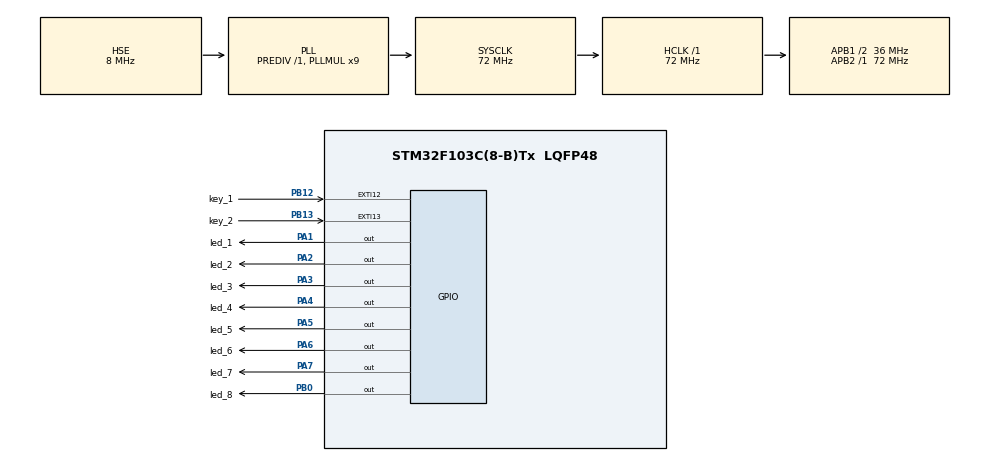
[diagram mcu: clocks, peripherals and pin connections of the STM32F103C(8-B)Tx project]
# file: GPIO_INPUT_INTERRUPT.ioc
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Mcu.Family=STM32F1
Mcu.Name=STM32F103C(8-B)Tx
Mcu.Package=LQFP48
NVIC.EXTI15_10_IRQn=true\:0\:0\:false\:false\:true\:true\:true\:true
NVIC.PriorityGroup=NVIC_PRIORITYGROUP_4
PA1.GPIO_Label=led_1
PA1.Signal=GPIO_Output
PA13.Mode=Serial_Wire
PA13.Signal=SYS_JTMS-SWDIO
PA14.Mode=Serial_Wire
PA14.Signal=SYS_JTCK-SWCLK
PA2.GPIO_Label=led_2
PA2.Signal=GPIO_Output
PA3.GPIO_Label=led_3
PA3.Signal=GPIO_Output
PA4.GPIO_Label=led_4
PA4.Signal=GPIO_Output
PA5.GPIO_Label=led_5
PA5.Signal=GPIO_Output
PA6.GPIO_Label=led_6
PA6.Signal=GPIO_Output
PA7.GPIO_Label=led_7
PA7.Signal=GPIO_Output
PB0.GPIO_Label=led_8
PB0.Signal=GPIO_Output
PB12.GPIO_Label=key_1
PB12.GPIO_ModeDefaultEXTI=GPIO_MODE_IT_RISING_FALLING
PB12.GPIO_PuPd=GPIO_PULLUP
PB12.Signal=GPXTI12
PB13.GPIO_Label=key_2
PB13.GPIO_ModeDefaultEXTI=GPIO_MODE_IT_RISING_FALLING
PB13.GPIO_PuPd=GPIO_PULLUP
PB13.Signal=GPXTI13
PD0-OSC_IN.Mode=HSE-External-Oscillator
PD0-OSC_IN.Signal=RCC_OSC_IN
PD1-OSC_OUT.Mode=HSE-External-Oscillator
PD1-OSC_OUT.Signal=RCC_OSC_OUT
ProjectManager.HeapSize=0x200
ProjectManager.StackSize=0x400
ProjectManager.TargetToolchain=STM32CubeIDE
RCC.AHBFreq_Value=72000000
RCC.APB1CLKDivider=RCC_HCLK_DIV2
RCC.APB1Freq_Value=36000000
RCC.APB1TimFreq_Value=72000000
RCC.APB2Freq_Value=72000000
RCC.APB2TimFreq_Value=72000000
RCC.HCLKFreq_Value=72000000
RCC.PLLMUL=RCC_PLL_MUL9
RCC.PLLSourceVirtual=RCC_PLLSOURCE_HSE
RCC.SYSCLKFreq_VALUE=72000000
RCC.SYSCLKSource=RCC_SYSCLKSOURCE_PLLCLK
RCC.USBFreq_Value=72000000
board=custom

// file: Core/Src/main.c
/* USER CODE BEGIN Header */
/**
  ******************************************************************************
  * @file           : main.c
  * @brief          : Main program body
  ******************************************************************************
  * @attention
  *
  * Copyright (c) 2024 STMicroelectronics.
  * All rights reserved.
  *
  * This software is licensed under terms that can be found in the LICENSE file
  * in the root directory of this software component.
  * If no LICENSE file comes with this software, it is provided AS-IS.
  *
  ******************************************************************************
  */
/* USER CODE END Header */
#include "main.h"

/* USER CODE BEGIN Includes */
#include "stdbool.h"
/* USER CODE END Includes */

void SystemClock_Config(void);
static void MX_GPIO_Init(void);
/* USER CODE BEGIN PFP */
void HAL_GPIO_EXTI_Callback(uint16_t GPIO_Pin);
void Key_1_Handler(uint32_t TimePress, GPIO_TypeDef* listport[], uint16_t listpin[]);
void Toggle_Leds(GPIO_TypeDef* ListPort[], uint16_t ListPin[]);
void CountUp(GPIO_TypeDef* listport[], uint16_t listpin[]);
//void Control_All_Leds(bool state);
void Off_All(void);
void CountDown(GPIO_TypeDef* listport[], uint16_t listpin[]);
/* USER CODE END PFP */

/* USER CODE BEGIN 0 */
volatile bool Inter_Key_1 = 0;
volatile bool Inter_Key_2 = 0;
volatile uint32_t Last_Interrupt_Time = 0;
volatile bool counter = 0;
volatile bool Key_State = 0;
volatile bool Key_Stable = 0;
volatile uint32_t Time_Press_Start = 0;
volatile uint32_t Time_Press_Duration = 0;
volatile uint32_t Time_Press_Duration_Key_2 = 0;

GPIO_TypeDef* led_port[] = {led_1_GPIO_Port, led_2_GPIO_Port, led_3_GPIO_Port, led_4_GPIO_Port,
		  led_5_GPIO_Port,led_6_GPIO_Port,led_7_GPIO_Port,led_8_GPIO_Port};

uint16_t led_pin[] = {led_1_Pin, led_2_Pin, led_3_Pin, led_4_Pin, led_5_Pin, led_6_Pin,
		  led_7_Pin,led_8_Pin};
/* USER CODE END 0 */

int main(void)
{

  /* MCU Configuration--------------------------------------------------------*/

  /* Reset of all peripherals, Initializes the Flash interface and the Systick. */
  HAL_Init();

  /* Configure the system clock */
  SystemClock_Config();

  /* Initialize all configured peripherals */
  MX_GPIO_Init();

  /* Infinite loop */
  while (1)
  {

    /* USER CODE BEGIN 3 */
	if(Inter_Key_1 == 1)
	{

		if(Key_Stable == 1)
		{
			Key_Stable = 0;
			Inter_Key_1 = 0;
			Key_1_Handler(Time_Press_Duration, led_port, led_pin);
		}
	}
  }
  /* USER CODE END 3 */
}

void SystemClock_Config(void)
{
  RCC_OscInitTypeDef RCC_OscInitStruct = {0};
  RCC_ClkInitTypeDef RCC_ClkInitStruct = {0};

  /** Initializes the RCC Oscillators according to the specified parameters
  * in the RCC_OscInitTypeDef structure.
  */
  RCC_OscInitStruct.OscillatorType = RCC_OSCILLATORTYPE_HSE;
  RCC_OscInitStruct.HSEState = RCC_HSE_ON;
  RCC_OscInitStruct.HSEPredivValue = RCC_HSE_PREDIV_DIV1;
  RCC_OscInitStruct.HSIState = RCC_HSI_ON;
  RCC_OscInitStruct.PLL.PLLState = RCC_PLL_ON;
  RCC_OscInitStruct.PLL.PLLSource = RCC_PLLSOURCE_HSE;
  RCC_OscInitStruct.PLL.PLLMUL = RCC_PLL_MUL9;
  if (HAL_RCC_OscConfig(&RCC_OscInitStruct) != HAL_OK)
  {
    Error_Handler();
  }

  /** Initializes the CPU, AHB and APB buses clocks
  */
  RCC_ClkInitStruct.ClockType = RCC_CLOCKTYPE_HCLK|RCC_CLOCKTYPE_SYSCLK
                              |RCC_CLOCKTYPE_PCLK1|RCC_CLOCKTYPE_PCLK2;
  RCC_ClkInitStruct.SYSCLKSource = RCC_SYSCLKSOURCE_PLLCLK;
  RCC_ClkInitStruct.AHBCLKDivider = RCC_SYSCLK_DIV1;
  RCC_ClkInitStruct.APB1CLKDivider = RCC_HCLK_DIV2;
  RCC_ClkInitStruct.APB2CLKDivider = RCC_HCLK_DIV1;

  if (HAL_RCC_ClockConfig(&RCC_ClkInitStruct, FLASH_LATENCY_2) != HAL_OK)
  {
    Error_Handler();
  }
}

static void MX_GPIO_Init(void)
{
  GPIO_InitTypeDef GPIO_InitStruct = {0};

  /* GPIO Ports Clock Enable */
  __HAL_RCC_GPIOD_CLK_ENABLE();
  __HAL_RCC_GPIOA_CLK_ENABLE();
  __HAL_RCC_GPIOB_CLK_ENABLE();

  /*Configure GPIO pin Output Level */
  HAL_GPIO_WritePin(GPIOA, led_1_Pin|led_2_Pin|led_3_Pin|led_4_Pin
                          |led_5_Pin|led_6_Pin|led_7_Pin, GPIO_PIN_RESET);

  /*Configure GPIO pin Output Level */
  HAL_GPIO_WritePin(led_8_GPIO_Port, led_8_Pin, GPIO_PIN_RESET);

  /*Configure GPIO pins : led_1_Pin led_2_Pin led_3_Pin led_4_Pin
                           led_5_Pin led_6_Pin led_7_Pin */
  GPIO_InitStruct.Pin = led_1_Pin|led_2_Pin|led_3_Pin|led_4_Pin
                          |led_5_Pin|led_6_Pin|led_7_Pin;
  GPIO_InitStruct.Mode = GPIO_MODE_OUTPUT_PP;
  GPIO_InitStruct.Pull = GPIO_NOPULL;
  GPIO_InitStruct.Speed = GPIO_SPEED_FREQ_LOW;
  HAL_GPIO_Init(GPIOA, &GPIO_InitStruct);

  /*Configure GPIO pin : led_8_Pin */
  GPIO_InitStruct.Pin = led_8_Pin;
  GPIO_InitStruct.Mode = GPIO_MODE_OUTPUT_PP;
  GPIO_InitStruct.Pull = GPIO_NOPULL;
  GPIO_InitStruct.Speed = GPIO_SPEED_FREQ_LOW;
  HAL_GPIO_Init(led_8_GPIO_Port, &GPIO_InitStruct);

  /*Configure GPIO pins : key_1_Pin key_2_Pin */
  GPIO_InitStruct.Pin = key_1_Pin|key_2_Pin;
  GPIO_InitStruct.Mode = GPIO_MODE_IT_RISING_FALLING;
  GPIO_InitStruct.Pull = GPIO_PULLUP;
  HAL_GPIO_Init(GPIOB, &GPIO_InitStruct);

  /* EXTI interrupt init*/
  HAL_NVIC_SetPriority(EXTI15_10_IRQn, 0, 0);
  HAL_NVIC_EnableIRQ(EXTI15_10_IRQn);

}

/* USER CODE BEGIN 4 */

void Key_1_Handler(uint32_t TimePress, GPIO_TypeDef* listport[], uint16_t listpin[])
{

	if(TimePress > 0 && TimePress < 1000)
	{

		Toggle_Leds(listport, listpin);
	}else if(TimePress > 1000 && TimePress < 5000 )
	{

		CountUp(listport, listpin);
	}else if(TimePress > 5000)
	{

		CountDown(listport, listpin);
	}
}

void HAL_GPIO_EXTI_Callback(uint16_t GPIO_Pin)
{
	if(GPIO_Pin == key_1_Pin )
	{
		uint32_t CurrentTime = HAL_GetTick();

		if (HAL_GPIO_ReadPin(key_1_GPIO_Port, key_1_Pin) == 0)
				{
				    if ((CurrentTime - Last_Interrupt_Time > 50) && (Key_State == 0))
				    {
				        Last_Interrupt_Time = CurrentTime;
				        Inter_Key_1 = 1;
				        Time_Press_Start = CurrentTime;
				        Key_State = 1;
				        Key_Stable = 0;
				    }
				}
				else
				{
				    if ((CurrentTime - Last_Interrupt_Time > 50) && (Key_State == 1))
				    {
				        Last_Interrupt_Time = CurrentTime;
				        Time_Press_Duration = CurrentTime - Time_Press_Start;
				        Key_State = 0;
				        Key_Stable = 1;
				        counter = 0;
				    }
				}

	}else if(GPIO_Pin == key_2_Pin)
	{
		counter = 0;
		Time_Press_Duration = 0;
		Off_All();
	}

}

//void Control_All_Leds(bool state)
//{
//	for(int led = 0; led < 8; led++)
//	{
//		HAL_GPIO_WritePin(, led_pin[led], state);
//	}
//}

void Off_All(void)
{
	HAL_GPIO_WritePin(led_1_GPIO_Port,led_1_Pin, 0);
	HAL_GPIO_WritePin(led_2_GPIO_Port,led_2_Pin, 0);
	HAL_GPIO_WritePin(led_3_GPIO_Port,led_3_Pin, 0);
	HAL_GPIO_WritePin(led_4_GPIO_Port,led_4_Pin, 0);
	HAL_GPIO_WritePin(led_5_GPIO_Port,led_5_Pin, 0);
	HAL_GPIO_WritePin(led_6_GPIO_Port,led_6_Pin, 0);
	HAL_GPIO_WritePin(led_7_GPIO_Port,led_7_Pin, 0);
	HAL_GPIO_WritePin(led_8_GPIO_Port,led_8_Pin, 0);

}
void Toggle_Leds(GPIO_TypeDef* ListPort[], uint16_t ListPin[])
{

	for (int led = 0; led < 8; led++)
	{
		HAL_GPIO_TogglePin(ListPort[led], ListPin[led]);
	}
}

void CountUp(GPIO_TypeDef* listport[], uint16_t listpin[])
{
	counter = 1;
	for(uint8_t count = 0; count < 256; count++)
	{
		if(counter == 0)
		{

			break;
		}
		for(int led = 0 ; led < 8; led++)
		{
			if(count & (1 << led))
			{
				HAL_GPIO_WritePin(listport[led], listpin[led],1);
			}else
			{
				HAL_GPIO_WritePin(listport[led], listpin[led],0);
			}
		}
		HAL_Delay(1000);
	}
	counter = 0;
}

void CountDown(GPIO_TypeDef* listport[], uint16_t listpin[])
{
	counter = 1;
	for(uint8_t count = 255; count  >= 0; count--)
	{
		if(counter == 0)
		{

			break;
		}
		for(int led = 0 ; led < 8; led++)
		{
			if(count & (1 << led))
			{
				HAL_GPIO_WritePin(listport[led], listpin[led],1);
			}else
			{
				HAL_GPIO_WritePin(listport[led], listpin[led],0);
			}
		}
		HAL_Delay(1000);
	}
	counter = 0;
}
/* USER CODE END 4 */

void Error_Handler(void)
{
  __disable_irq();
  while (1)
  {
  }
}
